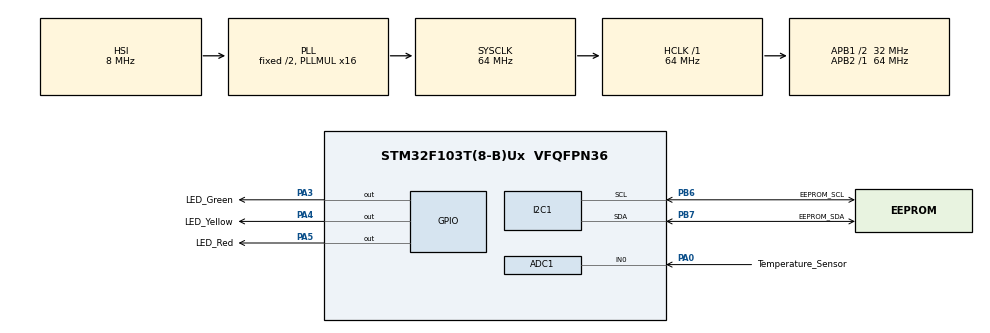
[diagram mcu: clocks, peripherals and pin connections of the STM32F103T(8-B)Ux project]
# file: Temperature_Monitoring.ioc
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ADC1.Channel-1\#ChannelRegularConversion=ADC_CHANNEL_0
ADC1.ExternalTrigConv=ADC_EXTERNALTRIGCONV_T3_TRGO
ADC1.NbrOfConversion=1
ADC1.NbrOfConversionFlag=1
ADC1.Rank-1\#ChannelRegularConversion=1
ADC1.SamplingTime-1\#ChannelRegularConversion=ADC_SAMPLETIME_1CYCLE_5
ADC1.master=1
Dma.ADC1.0.Direction=DMA_PERIPH_TO_MEMORY
Dma.ADC1.0.Instance=DMA1_Channel1
Dma.ADC1.0.MemDataAlignment=DMA_MDATAALIGN_WORD
Dma.ADC1.0.MemInc=DMA_MINC_ENABLE
Dma.ADC1.0.Mode=DMA_CIRCULAR
Dma.ADC1.0.PeriphDataAlignment=DMA_PDATAALIGN_HALFWORD
Dma.ADC1.0.PeriphInc=DMA_PINC_DISABLE
Dma.ADC1.0.Priority=DMA_PRIORITY_VERY_HIGH
Dma.Request0=ADC1
Mcu.Family=STM32F1
Mcu.Name=STM32F103T(8-B)Ux
Mcu.Package=VFQFPN36
NVIC.DMA1_Channel1_IRQn=true\:1\:0\:true\:false\:true\:false\:true\:true
NVIC.PriorityGroup=NVIC_PRIORITYGROUP_4
PA0-WKUP.GPIO_Label=Temperature_Sensor
PA0-WKUP.Signal=ADCx_IN0
PA3.GPIO_Label=LED_Green
PA3.GPIO_Speed=GPIO_SPEED_FREQ_HIGH
PA3.Signal=GPIO_Output
PA4.GPIO_Label=LED_Yellow
PA4.GPIO_Speed=GPIO_SPEED_FREQ_HIGH
PA4.Signal=GPIO_Output
PA5.GPIO_Label=LED_Red
PA5.GPIO_Speed=GPIO_SPEED_FREQ_HIGH
PA5.Signal=GPIO_Output
PB6.GPIO_Label=EEPROM_SCL
PB6.Mode=I2C
PB6.Signal=I2C1_SCL
PB7.GPIO_Label=EEPROM_SDA
PB7.Mode=I2C
PB7.Signal=I2C1_SDA
ProjectManager.HeapSize=0x200
ProjectManager.StackSize=0x400
ProjectManager.TargetToolchain=STM32CubeIDE
RCC.ADCPresc=RCC_ADCPCLK2_DIV8
RCC.AHBFreq_Value=64000000
RCC.APB1CLKDivider=RCC_HCLK_DIV2
RCC.APB1Freq_Value=32000000
RCC.APB1TimFreq_Value=64000000
RCC.APB2Freq_Value=64000000
RCC.APB2TimFreq_Value=64000000
RCC.HCLKFreq_Value=64000000
RCC.PLLMUL=RCC_PLL_MUL16
RCC.SYSCLKFreq_VALUE=64000000
RCC.SYSCLKSource=RCC_SYSCLKSOURCE_PLLCLK
RCC.TimSys_Div=SYSTICK_CLKSOURCE_HCLK_DIV8
RCC.USBFreq_Value=64000000
SH.ADCx_IN0.0=ADC1_IN0,IN0
TIM3.AutoReloadPreload=TIM_AUTORELOAD_PRELOAD_ENABLE
TIM3.Channel-PWM\ Generation1\ No\ Output=TIM_CHANNEL_1
TIM3.Period=6400
TIM3.TIM_MasterOutputTrigger=TIM_TRGO_UPDATE
VP_SYS_VS_ND.Mode=No_Debug
VP_TIM3_VS_no_output1.Mode=PWM Generation1 No Output
board=custom

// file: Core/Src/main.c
/* USER CODE BEGIN Header */
/**
 ******************************************************************************
 * @file           : main.c
 * @brief          : Main program body
 ******************************************************************************
 * @attention
 *
 * Copyright (c) 2025 STMicroelectronics.
 * All rights reserved.
 *
 * This software is licensed under terms that can be found in the LICENSE file
 * in the root directory of this software component.
 * If no LICENSE file comes with this software, it is provided AS-IS.
 *
 ******************************************************************************
 */
/* USER CODE END Header */
#include "main.h"

/* USER CODE BEGIN Includes */
#include <stdio.h>
#include <string.h>
/* USER CODE END Includes */

ADC_HandleTypeDef hadc1;
DMA_HandleTypeDef hdma_adc1;

I2C_HandleTypeDef hi2c1;

TIM_HandleTypeDef htim3;

/* USER CODE BEGIN PV */
// Declaration
uint32_t rawADC;
uint32_t hwRevision;
uint32_t temperatureFactor;
char hwSerialNo[20];

/* USER CODE END PV */

void SystemClock_Config(void);
static void MX_GPIO_Init(void);
static void MX_DMA_Init(void);
static void MX_ADC1_Init(void);
static void MX_I2C1_Init(void);
static void MX_TIM3_Init(void);

/* USER CODE BEGIN 0 */
/**
 * @brief  Conversion complete callback in non blocking mode
 * @param  hadc: ADC handle
 * @retval None
 */
void HAL_ADC_ConvCpltCallback(ADC_HandleTypeDef *hadc) {
	// Temperature Computation
	if ((rawADC >= (105 * temperatureFactor))
			|| (rawADC < (5 * temperatureFactor))) {
		// Reset Green and Yellow
		HAL_GPIO_WritePin(GPIOA, LED_Green_Pin | LED_Yellow_Pin,
				GPIO_PIN_RESET);
		// Set Red
		HAL_GPIO_WritePin(GPIOA, LED_Red_Pin, GPIO_PIN_SET);
	} else if (rawADC >= (85 * temperatureFactor)) {
		// Reset Red and Green
		HAL_GPIO_WritePin(GPIOA, LED_Red_Pin | LED_Green_Pin, GPIO_PIN_RESET);
		// Set Yellow
		HAL_GPIO_WritePin(GPIOA, LED_Yellow_Pin, GPIO_PIN_SET);
	} else {
		// Reset Red and Yellow
		HAL_GPIO_WritePin(GPIOA, LED_Red_Pin | LED_Yellow_Pin, GPIO_PIN_RESET);
		// Set Green
		HAL_GPIO_WritePin(GPIOA, LED_Green_Pin, GPIO_PIN_SET);
	}
}
/* USER CODE END 0 */

int main(void) {

	/* USER CODE BEGIN 1 */
	HAL_StatusTypeDef status;
	// Initialization
    memset(hwSerialNo, 0, sizeof(hwSerialNo));
    rawADC = 0;
    hwRevision = 0;
    temperatureFactor = 0;
	/* USER CODE END 1 */

	/* MCU Configuration--------------------------------------------------------*/

	/* Reset of all peripherals, Initializes the Flash interface and the Systick. */
	HAL_Init();

	/* Configure the system clock */
	SystemClock_Config();

	/* Initialize all configured peripherals */
	MX_GPIO_Init();
	MX_DMA_Init();
	MX_ADC1_Init();
	MX_I2C1_Init();
	MX_TIM3_Init();
	/* USER CODE BEGIN 2 */

	// Read hardware Revision from EEPROMs first page at address 0x0000
	status = HAL_I2C_Mem_Read(&hi2c1, EEPROM_ADDR, 0x0000,I2C_MEMADD_SIZE_16BIT, (uint8_t*) &hwRevision, 4, HAL_I2C_ERROR_TIMEOUT);

	// Read 20 characters from the second page of the EEPROM. This is where the Hardware Serial number is (e.g. ABC1234)
	status = HAL_I2C_Mem_Read(&hi2c1, EEPROM_ADDR, PAGE_SIZE,I2C_MEMADD_SIZE_16BIT, (uint8_t*) hwSerialNo, 20, HAL_I2C_ERROR_TIMEOUT);

	// Generating ADC factor from hardware revision information
	switch(hwRevision){
		case 0:
			temperatureFactor = 1;
			break;
		case 1:
			temperatureFactor = 10;
			break;
		default:
			//Error Handler would be good here
			temperatureFactor = 1;
			break;
	}

	// Starting ADC with DMA
	HAL_ADC_Start_DMA(&hadc1, &rawADC, 1);

	// Starting Timer which triggers ADC conversion at 10kHz
	HAL_TIM_PWM_Start(&htim3, TIM_CHANNEL_1);

	/* USER CODE END 2 */

	/* Infinite loop */
	while (1) {

	}
}

void SystemClock_Config(void) {
	RCC_OscInitTypeDef RCC_OscInitStruct = { 0 };
	RCC_ClkInitTypeDef RCC_ClkInitStruct = { 0 };
	RCC_PeriphCLKInitTypeDef PeriphClkInit = { 0 };

	/** Initializes the RCC Oscillators according to the specified parameters
	 * in the RCC_OscInitTypeDef structure.
	 */
	RCC_OscInitStruct.OscillatorType = RCC_OSCILLATORTYPE_HSI;
	RCC_OscInitStruct.HSIState = RCC_HSI_ON;
	RCC_OscInitStruct.HSICalibrationValue = RCC_HSICALIBRATION_DEFAULT;
	RCC_OscInitStruct.PLL.PLLState = RCC_PLL_ON;
	RCC_OscInitStruct.PLL.PLLSource = RCC_PLLSOURCE_HSI_DIV2;
	RCC_OscInitStruct.PLL.PLLMUL = RCC_PLL_MUL16;
	if (HAL_RCC_OscConfig(&RCC_OscInitStruct) != HAL_OK) {
		Error_Handler();
	}

	/** Initializes the CPU, AHB and APB buses clocks
	 */
	RCC_ClkInitStruct.ClockType = RCC_CLOCKTYPE_HCLK | RCC_CLOCKTYPE_SYSCLK
			| RCC_CLOCKTYPE_PCLK1 | RCC_CLOCKTYPE_PCLK2;
	RCC_ClkInitStruct.SYSCLKSource = RCC_SYSCLKSOURCE_PLLCLK;
	RCC_ClkInitStruct.AHBCLKDivider = RCC_SYSCLK_DIV1;
	RCC_ClkInitStruct.APB1CLKDivider = RCC_HCLK_DIV2;
	RCC_ClkInitStruct.APB2CLKDivider = RCC_HCLK_DIV1;

	if (HAL_RCC_ClockConfig(&RCC_ClkInitStruct, FLASH_LATENCY_2) != HAL_OK) {
		Error_Handler();
	}
	PeriphClkInit.PeriphClockSelection = RCC_PERIPHCLK_ADC;
	PeriphClkInit.AdcClockSelection = RCC_ADCPCLK2_DIV8;
	if (HAL_RCCEx_PeriphCLKConfig(&PeriphClkInit) != HAL_OK) {
		Error_Handler();
	}
}

static void MX_ADC1_Init(void) {

	ADC_ChannelConfTypeDef sConfig = { 0 };

	/** Common config
	 */
	hadc1.Instance = ADC1;
	hadc1.Init.ScanConvMode = ADC_SCAN_DISABLE;
	hadc1.Init.ContinuousConvMode = DISABLE;
	hadc1.Init.DiscontinuousConvMode = DISABLE;
	hadc1.Init.ExternalTrigConv = ADC_EXTERNALTRIGCONV_T3_TRGO;
	hadc1.Init.DataAlign = ADC_DATAALIGN_RIGHT;
	hadc1.Init.NbrOfConversion = 1;
	if (HAL_ADC_Init(&hadc1) != HAL_OK) {
		Error_Handler();
	}

	/** Configure Regular Channel
	 */
	sConfig.Channel = ADC_CHANNEL_0;
	sConfig.Rank = ADC_REGULAR_RANK_1;
	sConfig.SamplingTime = ADC_SAMPLETIME_1CYCLE_5;
	if (HAL_ADC_ConfigChannel(&hadc1, &sConfig) != HAL_OK) {
		Error_Handler();
	}

}

static void MX_I2C1_Init(void) {

	hi2c1.Instance = I2C1;
	hi2c1.Init.ClockSpeed = 100000;
	hi2c1.Init.DutyCycle = I2C_DUTYCYCLE_2;
	hi2c1.Init.OwnAddress1 = 0;
	hi2c1.Init.AddressingMode = I2C_ADDRESSINGMODE_7BIT;
	hi2c1.Init.DualAddressMode = I2C_DUALADDRESS_DISABLE;
	hi2c1.Init.OwnAddress2 = 0;
	hi2c1.Init.GeneralCallMode = I2C_GENERALCALL_DISABLE;
	hi2c1.Init.NoStretchMode = I2C_NOSTRETCH_DISABLE;
	if (HAL_I2C_Init(&hi2c1) != HAL_OK) {
		Error_Handler();
	}

}

static void MX_TIM3_Init(void) {

	TIM_MasterConfigTypeDef sMasterConfig = { 0 };
	TIM_OC_InitTypeDef sConfigOC = { 0 };

	htim3.Instance = TIM3;
	htim3.Init.Prescaler = 0;
	htim3.Init.CounterMode = TIM_COUNTERMODE_UP;
	htim3.Init.Period = 6400;
	htim3.Init.ClockDivision = TIM_CLOCKDIVISION_DIV1;
	htim3.Init.AutoReloadPreload = TIM_AUTORELOAD_PRELOAD_ENABLE;
	if (HAL_TIM_PWM_Init(&htim3) != HAL_OK) {
		Error_Handler();
	}
	sMasterConfig.MasterOutputTrigger = TIM_TRGO_UPDATE;
	sMasterConfig.MasterSlaveMode = TIM_MASTERSLAVEMODE_DISABLE;
	if (HAL_TIMEx_MasterConfigSynchronization(&htim3, &sMasterConfig)
			!= HAL_OK) {
		Error_Handler();
	}
	sConfigOC.OCMode = TIM_OCMODE_PWM1;
	sConfigOC.Pulse = 0;
	sConfigOC.OCPolarity = TIM_OCPOLARITY_HIGH;
	sConfigOC.OCFastMode = TIM_OCFAST_DISABLE;
	if (HAL_TIM_PWM_ConfigChannel(&htim3, &sConfigOC, TIM_CHANNEL_1)
			!= HAL_OK) {
		Error_Handler();
	}

}

static void MX_DMA_Init(void) {

	/* DMA controller clock enable */
	__HAL_RCC_DMA1_CLK_ENABLE();

	/* DMA interrupt init */
	/* DMA1_Channel1_IRQn interrupt configuration */
	HAL_NVIC_SetPriority(DMA1_Channel1_IRQn, 1, 0);
	HAL_NVIC_EnableIRQ(DMA1_Channel1_IRQn);

}

static void MX_GPIO_Init(void) {
	GPIO_InitTypeDef GPIO_InitStruct = { 0 };

	/* GPIO Ports Clock Enable */
	__HAL_RCC_GPIOA_CLK_ENABLE();
	__HAL_RCC_GPIOB_CLK_ENABLE();

	/*Configure GPIO pin Output Level */
	HAL_GPIO_WritePin(GPIOA, LED_Green_Pin | LED_Yellow_Pin | LED_Red_Pin,
			GPIO_PIN_RESET);

	/*Configure GPIO pins : LED_Green_Pin LED_Yellow_Pin LED_Red_Pin */
	GPIO_InitStruct.Pin = LED_Green_Pin | LED_Yellow_Pin | LED_Red_Pin;
	GPIO_InitStruct.Mode = GPIO_MODE_OUTPUT_PP;
	GPIO_InitStruct.Pull = GPIO_NOPULL;
	GPIO_InitStruct.Speed = GPIO_SPEED_FREQ_HIGH;
	HAL_GPIO_Init(GPIOA, &GPIO_InitStruct);

}

void Error_Handler(void) {
	__disable_irq();
	while (1) {
	}
}
